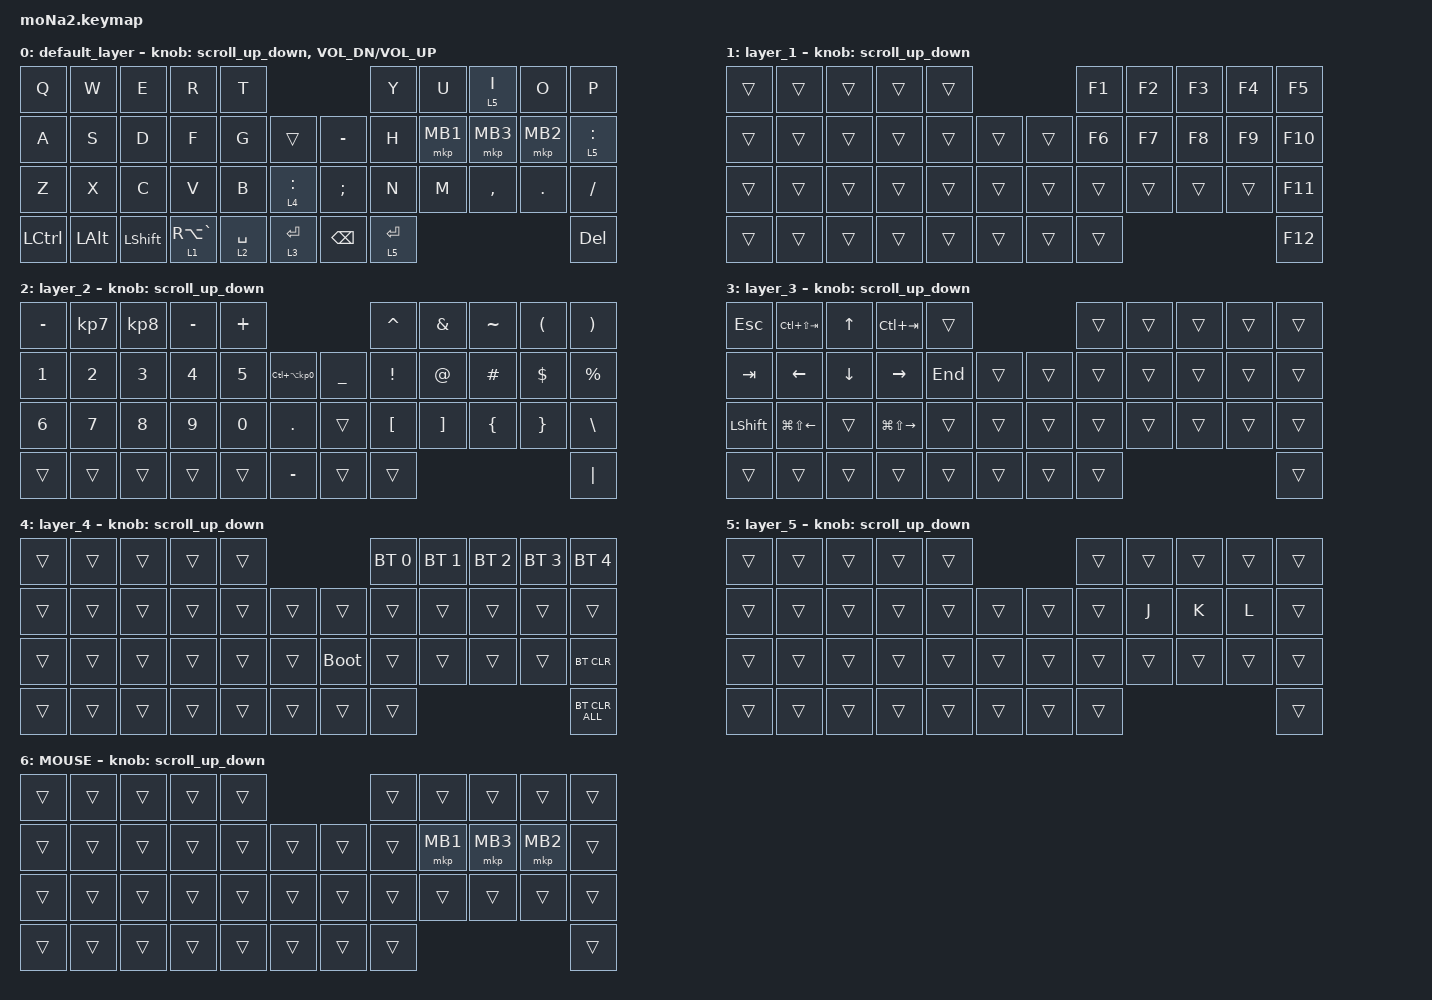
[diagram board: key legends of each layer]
#include <behaviors.dtsi>
#include <dt-bindings/zmk/bt.h>
#include <dt-bindings/zmk/keys.h>
#include <dt-bindings/zmk/pointing.h>

#define ZMK_POINTING_DEFAULT_SCRL_VAL 100
#define MOUSE 6

&mt {
    flavor = "balanced";
    quick-tap-ms = <0>;
};

/ {
    combos { compatible = "zmk,combos"; };

    macros {
        to_layer_0: to_layer_0 {
            compatible = "zmk,behavior-macro-one-param";
            #binding-cells = <1>;
            bindings = <&to 0 &macro_param_1to1 &kp MACRO_PLACEHOLDER>;
            label = "TO_LAYER_0";
        };
    };

    behaviors {
        lt_to_layer_0: lt_to_layer_0 {
            compatible = "zmk,behavior-hold-tap";
            label = "LAYER_TAP_TO_0";
            bindings = <&mo>, <&to_layer_0>;

            #binding-cells = <2>;
            tapping-term-ms = <200>;
        };

        scroll_up_down: behavior_sensor_rotate_mouse_wheel_up_down {
            compatible = "zmk,behavior-sensor-rotate";
            #sensor-binding-cells = <0>;
            bindings = <&msc SCRL_UP>, <&msc SCRL_DOWN>;

            tap-ms = <20>;
        };
    };

    keymap {
        compatible = "zmk,keymap";

        default_layer {
            bindings = <
&kp Q      &kp W         &kp E           &kp R            &kp T                                      &kp Y        &kp U     &lt 5 I    &kp O     &kp P
&kp A      &kp S         &kp D           &kp F            &kp G        &trans         &kp MINUS      &kp H        &mkp MB1  &mkp MB3   &mkp MB2  &lt 5 COLON
&kp Z      &kp X         &kp C           &kp V            &kp B        &lt 4 COLON    &kp SEMICOLON  &kp N        &kp M     &kp COMMA  &kp DOT   &kp SLASH
&kp LCTRL  &kp LEFT_ALT  &kp LEFT_SHIFT  &lt 1 RA(GRAVE)  &lt 2 SPACE  &lt 3 ENTER    &kp BACKSPACE  &lt 5 ENTER                                 &kp DEL
            >;

            sensor-bindings =
                <&scroll_up_down>,
                <&inc_dec_kp C_VOL_DN C_VOL_UP>;
        };

        layer_1 {
            bindings = <
&trans  &trans  &trans  &trans  &trans                    &kp F1  &kp F2  &kp F3  &kp F4  &kp F5
&trans  &trans  &trans  &trans  &trans  &trans    &trans  &kp F6  &kp F7  &kp F8  &kp F9  &kp F10
&trans  &trans  &trans  &trans  &trans  &trans    &trans  &trans  &trans  &trans  &trans  &kp F11
&trans  &trans  &trans  &trans  &trans  &trans    &trans  &trans                          &kp F12
            >;

            sensor-bindings = <&scroll_up_down>;
        };

        layer_2 {
            bindings = <
&kp MINUS     &kp KP_NUMBER_7  &kp KP_NUMBER_8  &kp MINUS     &kp PLUS                                             &kp CARET         &kp AMPERSAND      &kp TILDE       &kp LEFT_PARENTHESIS  &kp RIGHT_PARENTHESIS
&kp NUMBER_1  &kp NUMBER_2     &kp NUMBER_3     &kp NUMBER_4  &kp N5    &kp LC(LA(KP_NUMBER_0))    &kp UNDERSCORE  &kp EXCLAMATION   &kp AT_SIGN        &kp HASH        &kp DOLLAR            &kp PERCENT
&kp NUMBER_6  &kp N7           &kp N8           &kp N9        &kp N0    &kp PERIOD                 &trans          &kp LEFT_BRACKET  &kp RIGHT_BRACKET  &kp LEFT_BRACE  &kp RIGHT_BRACE       &kp BACKSLASH
&trans        &trans           &trans           &trans        &trans    &kp MINUS                  &trans          &trans                                                                     &kp PIPE
            >;

            sensor-bindings = <&scroll_up_down>;
        };

        layer_3 {
            bindings = <
&kp ESCAPE      &kp LC(LS(TAB))         &kp UP_ARROW    &kp LC(TAB)              &trans                     &trans  &trans  &trans  &trans  &trans
&kp TAB         &kp LEFT_ARROW          &kp DOWN_ARROW  &kp RIGHT_ARROW          &kp END  &trans    &trans  &trans  &trans  &trans  &trans  &trans
&kp LEFT_SHIFT  &kp LG(LS(LEFT_ARROW))  &trans          &kp LG(LS(RIGHT_ARROW))  &trans   &trans    &trans  &trans  &trans  &trans  &trans  &trans
&trans          &trans                  &trans          &trans                   &trans   &trans    &trans  &trans                          &trans
            >;

            sensor-bindings = <&scroll_up_down>;
        };

        layer_4 {
            bindings = <
&trans  &trans  &trans  &trans  &trans                         &bt BT_SEL 0  &bt BT_SEL 1  &bt BT_SEL 2  &bt BT_SEL 3  &bt BT_SEL 4
&trans  &trans  &trans  &trans  &trans  &trans    &trans       &trans        &trans        &trans        &trans        &trans
&trans  &trans  &trans  &trans  &trans  &trans    &bootloader  &trans        &trans        &trans        &trans        &bt BT_CLR
&trans  &trans  &trans  &trans  &trans  &trans    &trans       &trans                                                  &bt BT_CLR_ALL
            >;

            sensor-bindings = <&scroll_up_down>;
        };

        layer_5 {
            bindings = <
&trans  &trans  &trans  &trans  &trans                    &trans  &trans  &trans  &trans  &trans
&trans  &trans  &trans  &trans  &trans  &trans    &trans  &trans  &kp J   &kp K   &kp L   &trans
&trans  &trans  &trans  &trans  &trans  &trans    &trans  &trans  &trans  &trans  &trans  &trans
&trans  &trans  &trans  &trans  &trans  &trans    &trans  &trans                          &trans
            >;

            sensor-bindings = <&scroll_up_down>;
        };

        MOUSE {
            bindings = <
&trans  &trans  &trans  &trans  &trans                    &trans  &trans    &trans    &trans    &trans
&trans  &trans  &trans  &trans  &trans  &trans    &trans  &trans  &mkp MB1  &mkp MB3  &mkp MB2  &trans
&trans  &trans  &trans  &trans  &trans  &trans    &trans  &trans  &trans    &trans    &trans    &trans
&trans  &trans  &trans  &trans  &trans  &trans    &trans  &trans                                &trans
            >;

            sensor-bindings = <&scroll_up_down>;
        };
    };
};
